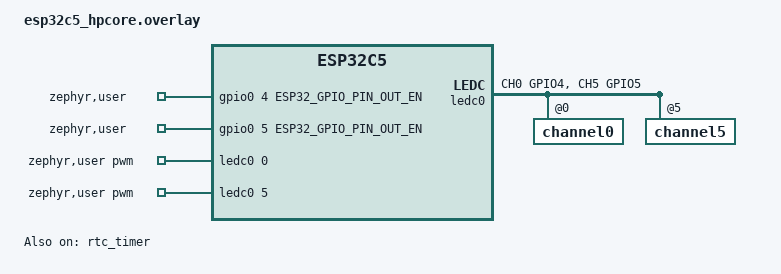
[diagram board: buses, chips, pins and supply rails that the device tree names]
/*
 * SPDX-License-Identifier: Apache-2.0
 *
 * Copyright (c) 2026 Espressif Systems (Shanghai) Co., Ltd.
 */

#include <zephyr/dt-bindings/pwm/pwm.h>
#include <zephyr/dt-bindings/gpio/gpio.h>
#include <zephyr/dt-bindings/gpio/espressif-esp32-gpio.h>

/ {
	zephyr,user {
		/* GPIO input pins order must match PWM pinctrl config */
		gpios = <&gpio0 4 ESP32_GPIO_PIN_OUT_EN>,
			<&gpio0 5 ESP32_GPIO_PIN_OUT_EN>;

		pwms = <&ledc0 0 500000 PWM_POLARITY_NORMAL>,
		       <&ledc0 5 250000 PWM_POLARITY_INVERTED>;
	};
};

&pinctrl {
	ledc0_default: ledc0_default {
		group1 {
			pinmux = <LEDC_CH0_GPIO4>,
				 <LEDC_CH5_GPIO5>;
			input-enable;
		};
	};
};

&ledc0 {
	pinctrl-0 = <&ledc0_default>;
	pinctrl-names = "default";
	status = "okay";
	#address-cells = <1>;
	#size-cells = <0>;

	channel0@0 {
		reg = <0x0>;
		timer = <0>;
	};

	channel5@5 {
		reg = <0x5>;
		timer = <1>;
	};
};

&rtc_timer {
	status = "okay";

	/* Configure device as wakeup source */
	wakeup-source;
};
